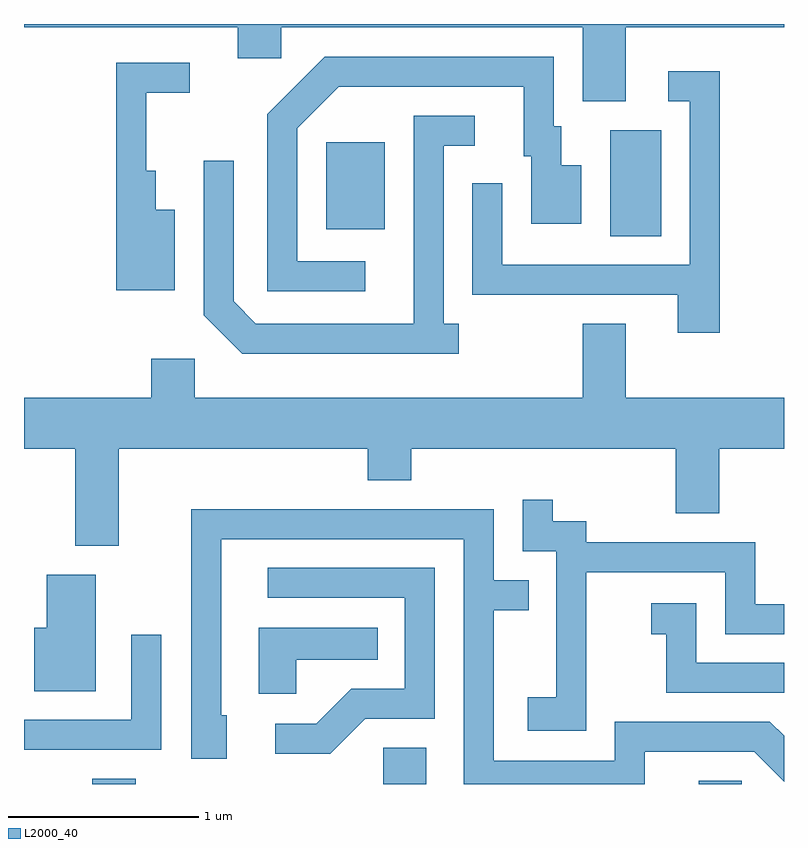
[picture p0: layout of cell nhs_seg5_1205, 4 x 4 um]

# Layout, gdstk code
import gdstk
lib = gdstk.Library(unit=1e-6, precision=1e-09)
def R(c, l, rs):  # rectangles x0, y0, x1, y1
    for r in rs: c.add(gdstk.rectangle(r[:2], r[2:], *l))
def P(c, l, *ps):  # polygons
    for p in ps: c.add(gdstk.Polygon(p, *l))
L2000_40 = (2000, 40)

nhs_seg5_1205 = lib.new_cell('nhs_seg5_1205')
R(nhs_seg5_1205, L2000_40, [(219.971,1526.072,220.199,1526.099), (221.501,1526.072,221.729,1526.264), (223.161,1526.072,223.389,1526.089), (222.696,1528.956,222.964,1529.514), (221.201,1528.991,221.509,1529.449)])
P(nhs_seg5_1205, L2000_40, [(222.779,1530.056),(223.611,1530.056),(223.611,1530.072),(219.611,1530.072),(219.611,1530.056),(220.736,1530.056),(220.736,1529.891),(220.964,1529.891),(220.964,1530.056),(222.551,1530.056),(222.551,1529.666),(222.779,1529.666)],
  [(221.408,1528.824),(221.049,1528.824),(221.049,1529.524),(221.267,1529.741),(222.241,1529.741),(222.241,1529.376),(222.281,1529.376),(222.281,1529.021),(222.544,1529.021),(222.544,1529.329),(222.439,1529.329),(222.439,1529.534),(222.399,1529.534),(222.399,1529.899),(221.194,1529.899),(220.891,1529.597),(220.891,1528.666),(221.408,1528.666)],
  [(220.404,1529.094),(220.304,1529.094),(220.304,1529.299),(220.254,1529.299),(220.254,1529.711),(220.483,1529.711),(220.483,1529.869),(220.096,1529.869),(220.096,1528.671),(220.404,1528.671)],
  [(223.274,1529.824),(223.003,1529.824),(223.003,1529.666),(223.116,1529.666),(223.116,1528.804),(222.129,1528.804),(222.129,1529.233),(221.971,1529.233),(221.971,1528.646),(223.051,1528.646),(223.051,1528.446),(223.274,1528.446)],
  [(221.898,1528.494),(221.819,1528.494),(221.819,1529.431),(221.983,1529.431),(221.983,1529.589),(221.661,1529.589),(221.661,1528.494),(220.832,1528.494),(220.714,1528.612),(220.714,1529.353),(220.556,1529.353),(220.556,1528.539),(220.759,1528.336),(221.898,1528.336)],
  [(220.109,1527.836),(221.421,1527.836),(221.421,1527.671),(221.649,1527.671),(221.649,1527.836),(223.041,1527.836),(223.041,1527.496),(223.269,1527.496),(223.269,1527.836),(223.611,1527.836),(223.611,1528.104),(222.779,1528.104),(222.779,1528.494),(222.551,1528.494),(222.551,1528.104),(220.509,1528.104),(220.509,1528.309),(220.281,1528.309),(220.281,1528.104),(219.611,1528.104),(219.611,1527.836),(219.881,1527.836),(219.881,1527.326),(220.109,1527.326)],
  [(222.569,1527.186),(223.301,1527.186),(223.301,1526.861),(223.611,1526.861),(223.611,1527.019),(223.459,1527.019),(223.459,1527.344),(222.569,1527.344),(222.569,1527.454),(222.394,1527.454),(222.394,1527.568),(222.236,1527.568),(222.236,1527.296),(222.411,1527.296),(222.411,1526.529),(222.261,1526.529),(222.261,1526.351),(222.569,1526.351)],
  [(222.879,1526.241),(223.454,1526.241),(223.611,1526.084),(223.611,1526.325),(223.537,1526.399),(222.721,1526.399),(222.721,1526.194),(222.084,1526.194),(222.084,1526.986),(222.268,1526.986),(222.268,1527.144),(222.084,1527.144),(222.084,1527.519),(220.491,1527.519),(220.491,1526.206),(220.679,1526.206),(220.679,1526.434),(220.649,1526.434),(220.649,1527.361),(221.926,1527.361),(221.926,1526.072),(222.879,1526.072)],
  [(221.407,1526.416),(221.774,1526.416),(221.774,1527.209),(220.893,1527.209),(220.893,1527.051),(221.616,1527.051),(221.616,1526.574),(221.334,1526.574),(221.149,1526.389),(220.933,1526.389),(220.933,1526.231),(221.222,1526.231)],
  [(219.989,1527.174),(219.731,1527.174),(219.731,1526.894),(219.666,1526.894),(219.666,1526.561),(219.989,1526.561)],
  [(223.611,1526.709),(223.149,1526.709),(223.149,1527.024),(222.913,1527.024),(222.913,1526.861),(222.991,1526.861),(222.991,1526.551),(223.611,1526.551)],
  [(221.044,1526.726),(221.473,1526.726),(221.473,1526.894),(220.846,1526.894),(220.846,1526.546),(221.044,1526.546)],
  [(220.334,1526.858),(220.176,1526.858),(220.176,1526.409),(219.611,1526.409),(219.611,1526.251),(220.334,1526.251)])

lib.write_gds('nhs_seg5_1205.gds')
